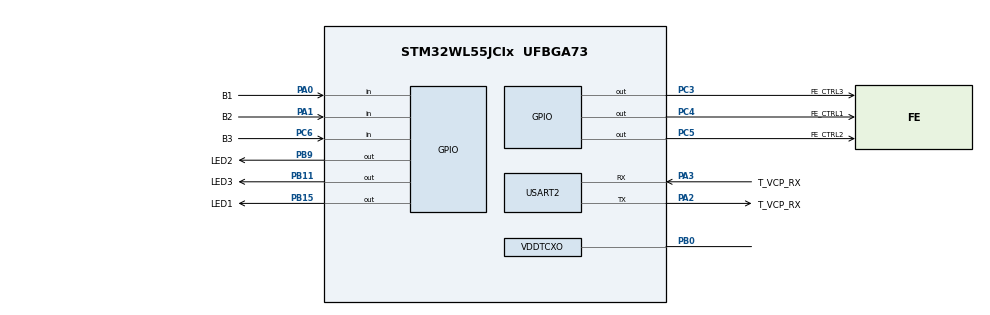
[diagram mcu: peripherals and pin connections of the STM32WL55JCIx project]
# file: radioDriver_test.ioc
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Mcu.Family=STM32WL
Mcu.Name=STM32WL55JCIx
Mcu.Package=UFBGA73
NVIC.PriorityGroup=NVIC_PRIORITYGROUP_4
NVIC.SUBGHZ_Radio_IRQn=true\:0\:0\:false\:false\:true\:true\:true
OSC_IN.Mode=HSE-TCXO
OSC_IN.Signal=RCC_OSC_IN
PA0.GPIO_Label=B1
PA0.GPIO_PuPd=GPIO_PULLUP
PA0.Signal=GPIO_Input
PA1.GPIO_Label=B2
PA1.GPIO_PuPd=GPIO_PULLUP
PA1.Signal=GPIO_Input
PA13.Mode=Serial_Wire
PA13.Signal=DEBUG_JTMS-SWDIO
PA14.Mode=Serial_Wire
PA14.Signal=DEBUG_JTCK-SWCLK
PA2.GPIO_Label=T_VCP_RX
PA2.Mode=Asynchronous
PA2.Signal=USART2_TX
PA3.GPIO_Label=T_VCP_RX
PA3.Mode=Asynchronous
PA3.Signal=USART2_RX
PB0-VDD_TCXO.Mode=HSE-TCXO
PB0-VDD_TCXO.Signal=VDDTCXO
PB11.GPIO_Label=LED3
PB11.Signal=GPIO_Output
PB15.GPIO_Label=LED1
PB15.Signal=GPIO_Output
PB9.GPIO_FM9=__NULL
PB9.GPIO_Label=LED2
PB9.Signal=GPIO_Output
PC14-OSC32_IN.Mode=LSE-External-Oscillator
PC14-OSC32_IN.Signal=RCC_OSC32_IN
PC15-OSC32_OUT.Mode=LSE-External-Oscillator
PC15-OSC32_OUT.Signal=RCC_OSC32_OUT
PC3.GPIO_Label=FE_CTRL3
PC3.Signal=GPIO_Output
PC4.GPIO_Label=FE_CTRL1
PC4.Signal=GPIO_Output
PC5.GPIO_Label=FE_CTRL2
PC5.Signal=GPIO_Output
PC6.GPIO_Label=B3
PC6.GPIO_PuPd=GPIO_PULLUP
PC6.Signal=GPIO_Input
ProjectManager.HeapSize=0x200
ProjectManager.StackSize=0x400
ProjectManager.TargetToolchain=STM32CubeIDE
RCC.AHBFreq_Value=48000000
RCC.APB1Freq_Value=48000000
RCC.APB1TimFreq_Value=48000000
RCC.APB2Freq_Value=48000000
RCC.APB2TimFreq_Value=48000000
RCC.APB3Freq_Value=48000000
RCC.CortexFreq_Value=48000000
RCC.HCLKFreq_Value=48000000
RCC.HSE_VALUE=32000000
RCC.HSI_VALUE=16000000
RCC.LSE_VALUE=32768
RCC.MSIClockRange=RCC_MSIRANGE_11
RCC.SYSCLKFreq_VALUE=48000000
RCC.VCOOutputFreq_Value=384000000
SUBGHZ.BaudratePrescaler=SUBGHZSPI_BAUDRATEPRESCALER_4
USART2.VirtualMode-Asynchronous=VM_ASYNC
VP_SUBGHZ_VS_SUBGHZ.Mode=SUBGHZ_Activate
board=NUCLEO-WL55JC1

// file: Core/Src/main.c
/* USER CODE BEGIN Header */
/**
  ******************************************************************************
  * @file           : main.c
  * @brief          : Main program body
  ******************************************************************************
  * @attention
  *
  * <h2><center>&copy; Copyright (c) 2022 STMicroelectronics.
  * All rights reserved.</center></h2>
  *
  * This software component is licensed by ST under BSD 3-Clause license,
  * the "License"; You may not use this file except in compliance with the
  * License. You may obtain a copy of the License at:
  *                        opensource.org/licenses/BSD-3-Clause
  *
  ******************************************************************************
  */
/* USER CODE END Header */
#include "main.h"
#include "subghz.h"
#include "usart.h"
#include "gpio.h"

/* USER CODE BEGIN Includes */
#include "radio_driver.h"
#include <stdio.h>
#include <string.h>
/* USER CODE END Includes */

/* USER CODE BEGIN PTD */
typedef enum
{
  STATE_STANDBY,
  STATE_TX
} state_t;
/* USER CODE END PTD */

/* USER CODE BEGIN PM */
#define RF_FREQUENCY                                868000000 /* Hz */
#define TX_OUTPUT_POWER                             14        /* dBm */
#define FSK_FDEV                                    25000     /* Hz */
#define FSK_DATARATE                                50000     /* bps */
#define FSK_BANDWIDTH                               50000     /* Hz */
#define FSK_PREAMBLE_LENGTH                         5         /* Same for Tx and Rx */
#define FSK_SYNCWORD_LENGTH                         3
#define PAYLOAD_LEN                                 0x4

/* USER CODE END PM */

/* USER CODE BEGIN PV */

/* Radio events function pointer */

PacketParams_t packetParams; //why here???

/* USER CODE END PV */

void SystemClock_Config(void);
/* USER CODE BEGIN PFP */

void loadBuffer(uint8_t* buffer, uint8_t* data, int data_length);
void radioInit();
void sendData(uint8_t* payload, uint8_t payloadLen);
void RadioOnDioIrq(RadioIrqMasks_t radioIrq);

/*

void eventRxDone(pingPongFSM_t *const fsm);
void eventRxTimeout(pingPongFSM_t *const fsm);
void eventRxError(pingPongFSM_t *const fsm);
void enterMasterRx(pingPongFSM_t *const fsm);
void enterSlaveRx(pingPongFSM_t *const fsm);

void enterSlaveTx(pingPongFSM_t *const fsm);
void transitionRxDone(pingPongFSM_t *const fsm);
*/
/* USER CODE END PFP */

int main(void)
{
  /* USER CODE BEGIN 1 */
	char uartBuffer[100];
	uint8_t dataBuffer[32];
  /* USER CODE END 1 */

  /* MCU Configuration--------------------------------------------------------*/

  /* Reset of all peripherals, Initializes the Flash interface and the Systick. */
  HAL_Init();

  /* Configure the system clock */
  SystemClock_Config();

  /* Initialize all configured peripherals */
  MX_GPIO_Init();
  MX_SUBGHZ_Init();
  MX_USART2_UART_Init();
  /* USER CODE BEGIN 2 */

	radioInit();
	uint8_t payload[] = "PING";

  /* USER CODE END 2 */

  /* Infinite loop */
  /* USER CODE BEGIN WHILE */
	RadioStatus_t status;
	uint8_t irqStatus;

  while (1)
  {
    /* USER CODE END WHILE */

    /* USER CODE BEGIN 3 */

	/*irqStatus = SUBGRF_GetIrqStatus();
	sprintf(uartBuffer, "IrqStatus=%d \r\n", irqStatus);
	HAL_UART_Transmit(&huart2, (uint8_t *)uartBuffer, strlen(uartBuffer), HAL_MAX_DELAY);
	*/
		sendData(payload, sizeof(payload)-1);
		status = SUBGRF_GetStatus();

		sprintf(uartBuffer, "Operating Mode=%d \r\n", SUBGRF_GetOperatingMode());
		HAL_UART_Transmit(&huart2, (uint8_t *)uartBuffer, strlen(uartBuffer), HAL_MAX_DELAY);

		HAL_Delay(2000);
  }
  /* USER CODE END 3 */

}

void SystemClock_Config(void)
{
  RCC_OscInitTypeDef RCC_OscInitStruct = {0};
  RCC_ClkInitTypeDef RCC_ClkInitStruct = {0};

  /** Configure LSE Drive Capability
  */
  HAL_PWR_EnableBkUpAccess();
  __HAL_RCC_LSEDRIVE_CONFIG(RCC_LSEDRIVE_LOW);
  /** Configure the main internal regulator output voltage
  */
  __HAL_PWR_VOLTAGESCALING_CONFIG(PWR_REGULATOR_VOLTAGE_SCALE1);
  /** Initializes the CPU, AHB and APB busses clocks
  */
  RCC_OscInitStruct.OscillatorType = RCC_OSCILLATORTYPE_LSE|RCC_OSCILLATORTYPE_MSI;
  RCC_OscInitStruct.LSEState = RCC_LSE_ON;
  RCC_OscInitStruct.MSIState = RCC_MSI_ON;
  RCC_OscInitStruct.MSICalibrationValue = RCC_MSICALIBRATION_DEFAULT;
  RCC_OscInitStruct.MSIClockRange = RCC_MSIRANGE_11;
  RCC_OscInitStruct.PLL.PLLState = RCC_PLL_NONE;
  if (HAL_RCC_OscConfig(&RCC_OscInitStruct) != HAL_OK)
  {
    Error_Handler();
  }
  /** Configure the SYSCLKSource, HCLK, PCLK1 and PCLK2 clocks dividers
  */
  RCC_ClkInitStruct.ClockType = RCC_CLOCKTYPE_HCLK3|RCC_CLOCKTYPE_HCLK
                              |RCC_CLOCKTYPE_SYSCLK|RCC_CLOCKTYPE_PCLK1
                              |RCC_CLOCKTYPE_PCLK2;
  RCC_ClkInitStruct.SYSCLKSource = RCC_SYSCLKSOURCE_MSI;
  RCC_ClkInitStruct.AHBCLKDivider = RCC_SYSCLK_DIV1;
  RCC_ClkInitStruct.APB1CLKDivider = RCC_HCLK_DIV1;
  RCC_ClkInitStruct.APB2CLKDivider = RCC_HCLK_DIV1;
  RCC_ClkInitStruct.AHBCLK3Divider = RCC_SYSCLK_DIV1;

  if (HAL_RCC_ClockConfig(&RCC_ClkInitStruct, FLASH_LATENCY_2) != HAL_OK)
  {
    Error_Handler();
  }
}

/* USER CODE BEGIN 4 */

/*
void loadBuffer(uint8_t* buffer, uint8_t* data, int data_length){
	int i;
	for(i=0; i<data_length; i++){
		buffer[i] = data[i];
	}
}
*/

void sendData(uint8_t* payload, uint8_t payloadLen){
	SUBGRF_SetDioIrqParams( IRQ_TX_DONE | IRQ_RX_TX_TIMEOUT,
                          IRQ_TX_DONE | IRQ_RX_TX_TIMEOUT,
                          IRQ_RADIO_NONE,
                          IRQ_RADIO_NONE);

	SUBGRF_SetSwitch(RFO_LP, RFSWITCH_TX);
	SUBGRF_WriteRegister(0x0889, (SUBGRF_ReadRegister(0x0889) | 0x04));
	packetParams.Params.Gfsk.PayloadLength = 0x4;
  SUBGRF_SetPacketParams(&packetParams);
	/*uint8_t buffer[32];
	//loadBuffer(buffer, payload, sizeof(payload)-1); //eol character
	loadBuffer(buffer, payload, payloadLen);
	SUBGRF_WriteBuffer(0, buffer, payloadLen);
	*/
	SUBGRF_SetPayload( payload, 4);
	SUBGRF_SetTx(0);
}

void radioInit(){

	SUBGRF_Init(RadioOnDioIrq);

	//SUBGRF_WriteRegister(SUBGHZ_SMPSC0R, (SUBGRF_ReadRegister(SUBGHZ_SMPSC0R) | SMPS_CLK_DET_ENABLE));
  //SUBGRF_SetRegulatorMode();

	SUBGRF_SetBufferBaseAddress(0x00, 0x00); //NOT THIS

	SUBGRF_SetRfFrequency(RF_FREQUENCY); //NOT THESE
  SUBGRF_SetRfTxPower(TX_OUTPUT_POWER);
  //SUBGRF_SetStopRxTimerOnPreambleDetect(false);

	ModulationParams_t modParams;
	modParams.PacketType = PACKET_TYPE_GFSK;
	modParams.Params.Gfsk.Bandwidth = SUBGRF_GetFskBandwidthRegValue(FSK_BANDWIDTH);
	modParams.Params.Gfsk.BitRate = FSK_DATARATE;
	modParams.Params.Gfsk.Fdev = FSK_FDEV;
	modParams.Params.Gfsk.ModulationShaping = MOD_SHAPING_G_BT_1;
	SUBGRF_SetModulationParams(&modParams);

	packetParams.PacketType = PACKET_TYPE_GFSK;
	packetParams.Params.Gfsk.AddrComp = RADIO_ADDRESSCOMP_FILT_OFF;
	packetParams.Params.Gfsk.CrcLength = RADIO_CRC_OFF;
	packetParams.Params.Gfsk.DcFree = RADIO_DC_FREE_OFF;
	packetParams.Params.Gfsk.HeaderType = RADIO_PACKET_VARIABLE_LENGTH;
	packetParams.Params.Gfsk.PayloadLength = PAYLOAD_LEN;
	packetParams.Params.Gfsk.PreambleLength = (FSK_PREAMBLE_LENGTH << 3); //bytes to bits!!
	packetParams.Params.Gfsk.PreambleMinDetect = RADIO_PREAMBLE_DETECTOR_08_BITS;
	packetParams.Params.Gfsk.SyncWordLength = (FSK_SYNCWORD_LENGTH << 3);
	SUBGRF_SetPacketParams(&packetParams);

	//SUBGRF_SetRfFrequency(RF_FREQUENCY);
	SUBGRF_SetSyncWord((uint8_t[]){0xC1, 0x94, 0xC1, 0x00, 0x00, 0x00, 0x00, 0x00});
	//SUBGRF_SetWhiteningSeed(0x01FF);
	//SUBGRF_SetTxParams(RFO_LP, 14, RADIO_RAMP_40_US);

	//SUBGRF_SetPaConfig();
	//SUBGRF_SetRfTxPower(TX_OUTPUT_POWER);
}

// Callback function - executed once for each (enabled) interrupt issued from sub-GHz radio
void RadioOnDioIrq(RadioIrqMasks_t radioIrq){
  switch (radioIrq){
    case IRQ_TX_DONE:
      //HAL_UART_Transmit(&huart2, (uint8_t *)"TX done int\r\n", 13, HAL_MAX_DELAY);
      break;
    //case IRQ_RX_DONE:
      //break;
    case IRQ_RX_TX_TIMEOUT:

      break;
    case IRQ_CRC_ERROR:
      break;
    default:
      break;
  }
}

/* USER CODE END 4 */

void Error_Handler(void)
{
  __disable_irq();
  while (1)
  {
  }
}

/************************ (C) COPYRIGHT STMicroelectronics *****END OF FILE****/
